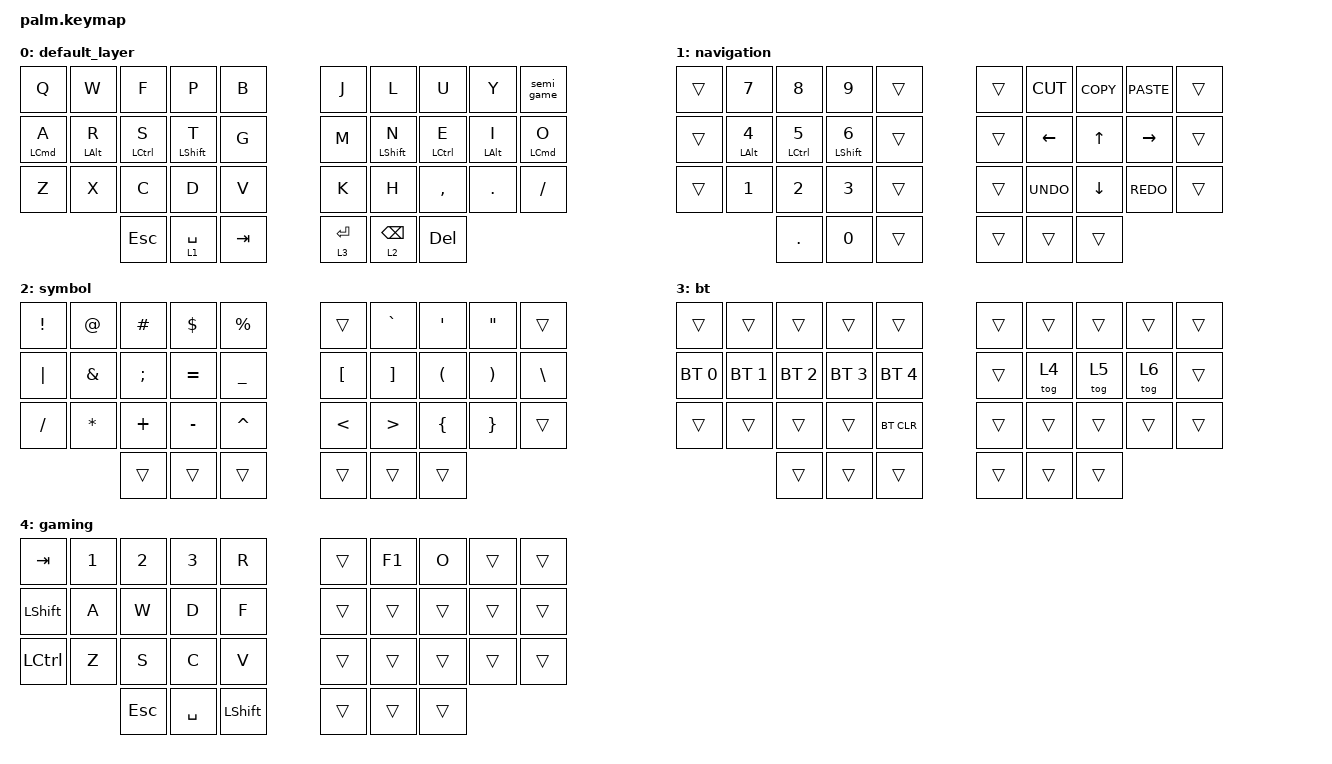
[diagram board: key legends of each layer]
/*
 * Copyright (c) 2020 The ZMK Contributors
 *
 * SPDX-License-Identifier: MIT
 */

#include <behaviors.dtsi>
#include <dt-bindings/zmk/keys.h>
#include <dt-bindings/zmk/bt.h>

/ {
    behaviors {
        mt: mod_tap {
            compatible = "zmk,behavior-hold-tap";
            #binding-cells = <2>;
            flavor = "balanced";
            tapping-term-ms = <150>;
            bindings = <&kp>, <&kp>;
            display-name = "Mod-Tap";
        };
        semi_game: tap_dance_0 {
            compatible = "zmk,behavior-tap-dance";
            #binding-cells = <0>;
            tapping-term-ms = <150>;
            bindings = <&kp SEMI>, <&tog 4>;
        };
    };

    keymap {
        compatible = "zmk,keymap";

        default_layer {
            // -------------------------------------------------------------------
            // |  Q  |  W  |  F  |  P  |  B  |   |  J  |  L   |  U  |  Y  |  ;  |
            // |  A  |  R  |  S  |  T  |  G  |   |  M  |  N   |  E  |  I  |  O  |
            // |  Z  |  X  |  C  |  D  |  V  |   |  K  |  H   |  ,  |  .  |  /  |
            //             | ESC | SPC | TAB |   | ENT | BSPC  | DEL |
            bindings = <
            &kp Q       &kp W       &kp F        &kp P        &kp B         &kp J       &kp L        &kp U        &kp Y       &semi_game
            &mt LCMD A  &mt LALT R  &mt LCTRL S  &mt LSHFT T  &kp G         &kp M       &mt LSHFT N  &mt LCTRL E  &mt LALT I  &mt LCMD O
            &kp Z       &kp X       &kp C        &kp D        &kp V         &kp K       &kp H        &kp COMMA    &kp DOT     &kp FSLH
                                    &kp ESC      &lt 1 SPACE  &kp TAB       &lt 3 RET   &lt 2 BSPC   &kp DEL
            >;
        };
        
        navigation {
            // ------------------------------------------------------------------
            // |     |  7  |  8  |  9  |     |    |     | CUT  | COPY | PAST |     |
            // |     |  4  |  5  |  6  |     |    |     | LEFT |  UP  | RIGT |     |
            // |     |  1  |  2  |  3  |     |    |     | UNDO | DOWN | REDO |     |
            //             |  .  |  0  |     |    |     |      |      |
            bindings = <
            &trans  &kp N7       &kp N8        &kp N9        &trans         &trans  &kp K_CUT   &kp K_COPY  &kp K_PASTE  &trans
            &trans  &mt LALT N4  &mt LCTRL N5  &mt LSHFT N6  &trans         &trans  &kp LEFT    &kp UP      &kp RIGHT    &trans
            &trans  &kp N1       &kp N2        &kp N3        &trans         &trans  &kp K_UNDO  &kp DOWN    &kp K_REDO   &trans
                                 &kp DOT       &kp N0        &trans         &trans  &trans      &trans
            >; 
        };

        symbol {
            // ------------------------------------------------------------------
            // |  !  |  @  |  #  |  $  |  %  |   |     |  `  |  '  |  "  |     |
            // | "|" |  &  |  ;  |  =  |  _  |   |  [  |  ]  |  (  |  )  |  \  |
            // |  /  |  *  |  +  |  -  |  ^  |   |  <  |  >  |  {  |  }  |     |
            //             |     |     |     |   |     |     |     |
            bindings = <
            &kp EXCL  &kp AT     &kp HASH  &kp DLLR   &kp PRCNT      &trans    &kp GRAVE  &kp APOS  &kp DQT   &trans
            &kp PIPE  &kp AMPS   &kp SEMI  &kp EQUAL  &kp UNDER      &kp LBKT  &kp RBKT     &kp LPAR  &kp RPAR  &kp BSLH
            &kp FSLH  &kp ASTRK  &kp PLUS  &kp MINUS  &kp CARET      &kp LT    &kp GT     &kp LBRC  &kp RBRC  &trans
                                 &trans    &trans     &trans         &trans    &trans     &trans
            >;
        };

        bt {
            // ------------------------------------------------------------------
            // |     |     |     |     |       |   |     |     |     |     |     |
            // | BT1 | BT2 | BT3 | BT4 |  BT5  |   |     |     |     |     |     |
            // |     |     |     |     | BTCLR |   |     |     |     |     |     |
            //             |     |     |       |   |     |     |     |
            bindings = <
            &trans        &trans        &trans        &trans        &trans            &trans  &trans  &trans  &trans  &trans
            &bt BT_SEL 0  &bt BT_SEL 1  &bt BT_SEL 2  &bt BT_SEL 3  &bt BT_SEL 4      &trans  &tog 4  &tog 5  &tog 6  &trans
            &trans        &trans        &trans        &trans        &bt BT_CLR        &trans  &trans  &trans  &trans  &trans
                                        &trans        &trans        &trans            &trans  &trans  &trans
            >;
        };

        gaming {
            // ------------------------------------------------------------------
            // | TAB  |  1  |    2    |   3   |    R    |   |     |     |     |     |     |
            // | SHFT |  A  |    W    |   D   |    F    |   |     |     |     |     |     |
            // | CTRL |  Z  |    S    |   C   |    V    |   |     |     |     |     |     |
            //              |   ESC   |  SPC  |  SHIFT  |   |     |     |     |
            bindings = <
            &kp TAB     &kp N1  &kp N2     &kp N3    &kp R          &trans  &kp F1  &kp O   &trans  &trans
            &kp LSHFT   &kp A   &kp W       &kp D    &kp F          &trans  &trans  &trans  &trans  &trans
            &kp LCTRL   &kp Z   &kp S       &kp C    &kp V          &trans  &trans  &trans  &trans  &trans
                                &kp ESC   &kp SPC  &kp LSHFT        &trans  &trans  &trans
            >;
        };
    };
};
